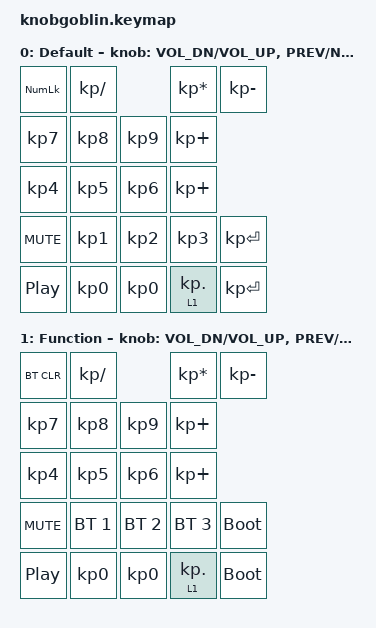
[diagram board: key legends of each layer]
/*
 * Copyright (c) 2020 The ZMK Contributors
 *
 * SPDX-License-Identifier: MIT
 */

#include <behaviors.dtsi>
#include <dt-bindings/zmk/keys.h>
#include <dt-bindings/zmk/bt.h>


/ {
    sensors {
        compatible = "zmk,keymap-sensors";
        sensors = <&encoder_1 &encoder_2>;
    };

    keymap {
        compatible = "zmk,keymap";

        default_layer {
            label = "Default";
            bindings = <
            &kp KP_NUM  &kp KP_DIVIDE  &kp KP_MULTIPLY  &kp KP_MINUS
            &kp KP_N7  &kp KP_N8  &kp KP_N9  &kp KP_PLUS
            &kp KP_N4  &kp KP_N5  &kp KP_N6  &kp KP_PLUS
            &kp C_MUTE &kp KP_N1  &kp KP_N2  &kp KP_N3  &kp KP_ENTER
            &kp C_PLAY_PAUSE &kp KP_N0 &kp KP_N0  &lt 1 KP_DOT  &kp KP_ENTER
            >;

            sensor-bindings = <&inc_dec_kp C_VOL_DN C_VOL_UP &inc_dec_kp C_PREV C_NEXT>;   
        };
        function_layer {
            label = "Function";
            bindings = <
            &bt BT_CLR  &kp KP_DIVIDE  &kp KP_MULTIPLY  &kp KP_MINUS
            &kp KP_N7  &kp KP_N8  &kp KP_N9  &kp KP_PLUS
            &kp KP_N4  &kp KP_N5  &kp KP_N6  &kp KP_PLUS
            &kp C_MUTE &bt BT_SEL 1  &bt BT_SEL 2  &bt BT_SEL 3  &bootloader
            &kp C_PLAY_PAUSE &kp KP_N0 &kp KP_N0  &lt 1 KP_DOT  &bootloader
            >;
            sensor-bindings = <&inc_dec_kp C_VOL_DN C_VOL_UP &inc_dec_kp C_PREV C_NEXT>;
        };
    };
};

